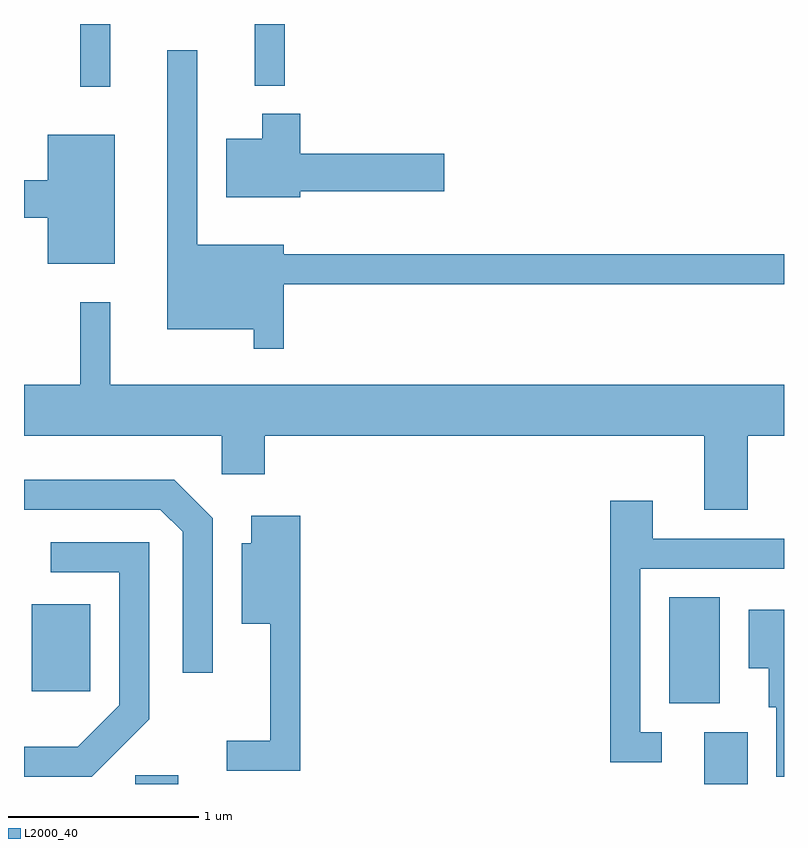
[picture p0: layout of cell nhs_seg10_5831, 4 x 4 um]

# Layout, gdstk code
import gdstk
lib = gdstk.Library(unit=1e-6, precision=1e-09)
def R(c, l, rs):  # rectangles x0, y0, x1, y1
    for r in rs: c.add(gdstk.rectangle(r[:2], r[2:], *l))
def P(c, l, *ps):  # polygons
    for p in ps: c.add(gdstk.Polygon(p, *l))
L2000_40 = (2000, 40)

nhs_seg10_5831 = lib.new_cell('nhs_seg10_5831')
R(nhs_seg10_5831, L2000_40, [(358.196,2116.522,358.424,2116.569), (361.191,2116.522,361.419,2116.794), (361.006,2116.946,361.274,2117.504), (357.651,2117.011,357.959,2117.469), (357.906,2120.193,358.064,2120.522), (358.826,2120.198,358.984,2120.522)])
P(nhs_seg10_5831, L2000_40, [(358.979,2119.151),(361.611,2119.151),(361.611,2119.309),(358.979,2119.309),(358.979,2119.359),(358.524,2119.359),(358.524,2120.383),(358.366,2120.383),(358.366,2118.916),(358.821,2118.916),(358.821,2118.813),(358.979,2118.813)],
  [(359.064,2119.641),(359.824,2119.641),(359.824,2119.839),(359.064,2119.839),(359.064,2120.049),(358.866,2120.049),(358.866,2119.919),(358.676,2119.919),(358.676,2119.611),(359.064,2119.611)],
  [(358.089,2119.939),(357.736,2119.939),(357.736,2119.699),(357.611,2119.699),(357.611,2119.501),(357.736,2119.501),(357.736,2119.261),(358.089,2119.261)],
  [(361.419,2118.356),(361.611,2118.356),(361.611,2118.624),(358.064,2118.624),(358.064,2119.058),(357.906,2119.058),(357.906,2118.624),(357.611,2118.624),(357.611,2118.356),(358.651,2118.356),(358.651,2118.151),(358.879,2118.151),(358.879,2118.356),(361.191,2118.356),(361.191,2117.966),(361.419,2117.966)],
  [(358.604,2117.922),(358.402,2118.124),(357.611,2118.124),(357.611,2117.966),(358.329,2117.966),(358.446,2117.849),(358.446,2117.108),(358.604,2117.108)],
  [(360.968,2116.794),(360.854,2116.794),(360.854,2117.656),(361.611,2117.656),(361.611,2117.814),(360.919,2117.814),(360.919,2118.014),(360.696,2118.014),(360.696,2116.636),(360.968,2116.636)],
  [(359.064,2117.934),(358.806,2117.934),(358.806,2117.789),(358.756,2117.789),(358.756,2117.366),(358.906,2117.366),(358.906,2116.749),(358.678,2116.749),(358.678,2116.591),(359.064,2116.591)],
  [(358.269,2116.864),(358.269,2117.794),(357.753,2117.794),(357.753,2117.636),(358.111,2117.636),(358.111,2116.937),(357.894,2116.719),(357.611,2116.719),(357.611,2116.561),(357.967,2116.561)],
  [(361.611,2117.439),(361.426,2117.439),(361.426,2117.131),(361.531,2117.131),(361.531,2116.926),(361.571,2116.926),(361.571,2116.561),(361.611,2116.561)])

lib.write_gds('nhs_seg10_5831.gds')
